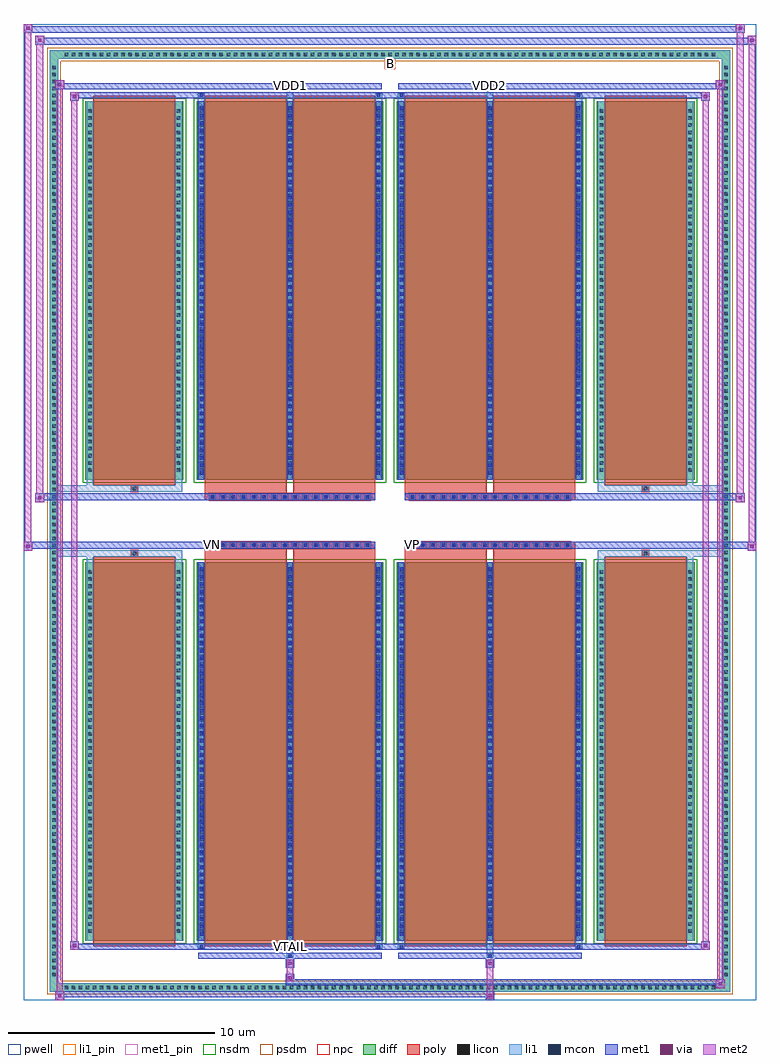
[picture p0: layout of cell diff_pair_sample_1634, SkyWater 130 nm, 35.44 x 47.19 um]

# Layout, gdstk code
import gdstk
lib = gdstk.Library(unit=1e-6, precision=5e-09)
def R(c, l, rs):  # rectangles x0, y0, x1, y1
    for r in rs: c.add(gdstk.rectangle(r[:2], r[2:], *l))
def A(c, l, x, y, w, h, nx, ny, dx, dy):  # array of equal rectangles
    R(c, l, [(x+i*dx, y+j*dy, x+i*dx+w, y+j*dy+h) for i in range(nx) for j in range(ny)])
def P(c, l, *ps):  # polygons
    for p in ps: c.add(gdstk.Polygon(p, *l))
pwell = (64, 44)
diff = (65, 20)
poly = (66, 20)
licon = (66, 44)
li1_pin = (67, 16)
li1 = (67, 20)
mcon = (67, 44)
met1_pin = (68, 16)
met1 = (68, 20)
via = (68, 44)
met2 = (69, 20)
nsdm = (93, 44)
psdm = (94, 20)
npc = (95, 20)

diff_pair_sample_1634 = lib.new_cell('diff_pair_sample_1634')
R(diff_pair_sample_1634, pwell, [(-17.72,-23.16,17.72,24.03), (-15.04,-21.35,-0.01,-0.805), (0.01,-21.35,15.04,-0.805), (-15.04,0.805,-0.01,21.35), (0.01,0.805,15.04,21.35)])
A(diff_pair_sample_1634, diff, -15.845, -22.76, 0.41, 0.41, 93, 2, 0.34, 45.11)
A(diff_pair_sample_1634, diff, -16.45, -22.135, 0.41, 0.41, 1, 130, 0, 0.34)
A(diff_pair_sample_1634, diff, 16.04, -22.135, 0.41, 0.41, 1, 130, 0, 0.34)
R(diff_pair_sample_1634, diff, [(-15.845,-22.76,15.845,-22.35), (-16.45,-22.135,-16.04,22.135), (16.04,-22.135,16.45,22.135), (-14.73,-20.305,-9.99,-1.985), (-9.35,-20.305,-0.32,-1.985), (0.32,-20.305,9.35,-1.985), (9.99,-20.305,14.73,-1.985), (-14.73,1.985,-9.99,20.305), (-9.35,1.985,-0.32,20.305), (0.32,1.985,9.35,20.305), (9.99,1.985,14.73,20.305), (-15.845,22.35,15.845,22.76)])
P(diff_pair_sample_1634, diff, [(16.45,22.76),(-16.45,22.76),(-16.45,-22.35),(-16.04,-22.35),(-16.04,22.35),(16.04,22.35),(16.04,-22.35),(-16.04,-22.35),(-16.45,-22.35),(-16.45,-22.76),(16.45,-22.76)])
A(diff_pair_sample_1634, poly, -8.75, -1.335, 0.33, 0.33, 16, 2, 0.5, 2.34)
A(diff_pair_sample_1634, poly, 0.92, -1.335, 0.33, 0.33, 16, 2, 0.5, 2.34)
R(diff_pair_sample_1634, poly, [(-14.34,-20.555,-10.38,-1.735), (-8.96,-20.555,-5,-1.735), (-4.67,-20.555,-0.71,-1.735), (0.71,-20.555,4.67,-1.735), (5,-20.555,8.96,-1.735), (10.38,-20.555,14.34,-1.735), (-12.525,-1.735,-12.195,-1.405), (-12.525,-1.735,-12.195,-1.405), (-8.96,-1.735,-5,-1.335), (-4.67,-1.735,-0.71,-1.335), (0.71,-1.735,4.67,-1.335), (5,-1.735,8.96,-1.335), (12.195,-1.735,12.525,-1.405), (12.195,-1.735,12.525,-1.405), (-8.96,-1.335,-0.71,-1.005), (0.71,-1.335,8.96,-1.005), (-8.96,1.005,-0.71,1.335), (0.71,1.005,8.96,1.335), (-8.96,1.335,-5,1.735), (-4.67,1.335,-0.71,1.735), (0.71,1.335,4.67,1.735), (5,1.335,8.96,1.735), (-12.525,1.405,-12.195,1.735), (-12.525,1.405,-12.195,1.735), (12.195,1.405,12.525,1.735), (12.195,1.405,12.525,1.735), (-14.34,1.735,-10.38,20.555), (-8.96,1.735,-5,20.555), (-4.67,1.735,-0.71,20.555), (0.71,1.735,4.67,20.555), (5,1.735,8.96,20.555), (10.38,1.735,14.34,20.555)])
A(diff_pair_sample_1634, licon, -15.725, -22.64, 0.17, 0.17, 93, 2, 0.34, 45.11)
A(diff_pair_sample_1634, licon, -16.33, -22.015, 0.17, 0.17, 1, 130, 0, 0.34)
A(diff_pair_sample_1634, licon, 16.16, -22.015, 0.17, 0.17, 1, 130, 0, 0.34)
A(diff_pair_sample_1634, licon, -14.59, -19.9, 0.17, 0.17, 1, 52, 0, 0.34)
A(diff_pair_sample_1634, licon, -10.3, -19.9, 0.17, 0.17, 1, 52, 0, 0.34)
A(diff_pair_sample_1634, licon, -9.21, -19.9, 0.17, 0.17, 3, 52, 4.29, 0.34)
A(diff_pair_sample_1634, licon, 0.46, -19.9, 0.17, 0.17, 3, 52, 4.29, 0.34)
A(diff_pair_sample_1634, licon, 10.13, -19.9, 0.17, 0.17, 1, 52, 0, 0.34)
A(diff_pair_sample_1634, licon, 14.42, -19.9, 0.17, 0.17, 1, 52, 0, 0.34)
A(diff_pair_sample_1634, licon, -8.67, -1.255, 0.17, 0.17, 16, 2, 0.5, 2.34)
A(diff_pair_sample_1634, licon, 1, -1.255, 0.17, 0.17, 16, 2, 0.5, 2.34)
A(diff_pair_sample_1634, licon, -14.59, 2.39, 0.17, 0.17, 1, 52, 0, 0.34)
A(diff_pair_sample_1634, licon, -10.3, 2.39, 0.17, 0.17, 1, 52, 0, 0.34)
A(diff_pair_sample_1634, licon, -9.21, 2.39, 0.17, 0.17, 3, 52, 4.29, 0.34)
A(diff_pair_sample_1634, licon, 0.46, 2.39, 0.17, 0.17, 3, 52, 4.29, 0.34)
A(diff_pair_sample_1634, licon, 10.13, 2.39, 0.17, 0.17, 1, 52, 0, 0.34)
A(diff_pair_sample_1634, licon, 14.42, 2.39, 0.17, 0.17, 1, 52, 0, 0.34)
R(diff_pair_sample_1634, licon, [(-12.445,-1.655,-12.275,-1.485), (12.275,-1.655,12.445,-1.485), (-12.445,1.485,-12.275,1.655), (12.275,1.485,12.445,1.655)])
R(diff_pair_sample_1634, li1_pin, [(-0.25,21.85,0.25,22.35)])
A(diff_pair_sample_1634, li1, -15.805, -22.72, 0.33, 0.33, 93, 2, 0.34, 45.11)
A(diff_pair_sample_1634, li1, -16.41, -22.095, 0.33, 0.33, 1, 130, 0, 0.34)
A(diff_pair_sample_1634, li1, 16.08, -22.095, 0.33, 0.33, 1, 130, 0, 0.34)
A(diff_pair_sample_1634, li1, -9.29, -20.305, 0.33, 18.32, 3, 2, 4.29, 22.29)
A(diff_pair_sample_1634, li1, 0.38, -20.305, 0.33, 18.32, 3, 2, 4.29, 22.29)
A(diff_pair_sample_1634, li1, -9.21, -20.05, 0.17, 0.17, 3, 50, 4.29, 0.36)
A(diff_pair_sample_1634, li1, -9.21, -20.05, 0.17, 17.81, 3, 2, 4.29, 22.29)
A(diff_pair_sample_1634, li1, 0.46, -20.05, 0.17, 0.17, 3, 50, 4.29, 0.36)
A(diff_pair_sample_1634, li1, 0.46, -20.05, 0.17, 17.81, 3, 2, 4.29, 22.29)
A(diff_pair_sample_1634, li1, -14.67, -19.98, 0.33, 0.33, 1, 52, 0, 0.34)
A(diff_pair_sample_1634, li1, -10.38, -19.98, 0.33, 0.33, 1, 52, 0, 0.34)
A(diff_pair_sample_1634, li1, -9.29, -19.98, 0.33, 0.33, 3, 52, 4.29, 0.34)
A(diff_pair_sample_1634, li1, 0.38, -19.98, 0.33, 0.33, 3, 52, 4.29, 0.34)
A(diff_pair_sample_1634, li1, 10.05, -19.98, 0.33, 0.33, 1, 52, 0, 0.34)
A(diff_pair_sample_1634, li1, 14.34, -19.98, 0.33, 0.33, 1, 52, 0, 0.34)
A(diff_pair_sample_1634, li1, -8.75, -1.335, 0.33, 0.33, 16, 2, 0.5, 2.34)
A(diff_pair_sample_1634, li1, 0.92, -1.335, 0.33, 0.33, 16, 2, 0.5, 2.34)
A(diff_pair_sample_1634, li1, -9.21, 2.24, 0.17, 0.17, 3, 50, 4.29, 0.36)
A(diff_pair_sample_1634, li1, 0.46, 2.24, 0.17, 0.17, 3, 50, 4.29, 0.36)
A(diff_pair_sample_1634, li1, -14.67, 2.31, 0.33, 0.33, 1, 52, 0, 0.34)
A(diff_pair_sample_1634, li1, -10.38, 2.31, 0.33, 0.33, 1, 52, 0, 0.34)
A(diff_pair_sample_1634, li1, -9.29, 2.31, 0.33, 0.33, 3, 52, 4.29, 0.34)
A(diff_pair_sample_1634, li1, 0.38, 2.31, 0.33, 0.33, 3, 52, 4.29, 0.34)
A(diff_pair_sample_1634, li1, 10.05, 2.31, 0.33, 0.33, 1, 52, 0, 0.34)
A(diff_pair_sample_1634, li1, 14.34, 2.31, 0.33, 0.33, 1, 52, 0, 0.34)
R(diff_pair_sample_1634, li1, [(-16.45,-22.76,-16.04,-22.35), (-16.45,-22.76,-16.04,-22.35), (-16.04,-22.76,16.04,-22.35), (16.04,-22.76,16.45,-22.35), (16.04,-22.76,16.45,-22.35), (-16.45,-22.35,-16.04,22.35), (16.04,-22.35,16.45,22.35), (-5,-21.11,-4.67,-20.305), (-4.92,-21.11,-4.75,-20.94), (4.67,-21.11,5,-20.305), (4.75,-21.11,4.92,-20.94), (-9.29,-20.68,-8.96,-20.305), (-9.21,-20.68,-9.04,-20.51), (-0.71,-20.68,-0.38,-20.305), (-0.63,-20.68,-0.46,-20.51), (0.38,-20.68,0.71,-20.305), (0.46,-20.68,0.63,-20.51), (8.96,-20.68,9.29,-20.305), (9.04,-20.68,9.21,-20.51), (-14.67,-20.305,-14.34,-1.985), (-10.38,-20.305,-10.05,-1.985), (10.05,-20.305,10.38,-1.985), (14.34,-20.305,14.67,-1.985), (-14.67,-1.985,-14.34,-1.405), (-10.38,-1.985,-10.05,-1.405), (10.05,-1.985,10.38,-1.405), (14.34,-1.985,14.67,-1.405), (-16.45,-1.735,-12.525,-1.405), (-14.67,-1.735,-12.525,-1.405), (-12.525,-1.735,-12.195,-1.405), (-12.195,-1.735,-10.05,-1.405), (10.05,-1.735,12.195,-1.405), (12.195,-1.735,12.525,-1.405), (12.195,-1.735,16.45,-1.405), (12.525,-1.735,14.67,-1.405), (-16.45,1.405,-12.525,1.735), (-14.67,1.405,-12.525,1.735), (-14.67,1.405,-14.34,1.985), (-12.525,1.405,-12.195,1.735), (-12.195,1.405,-10.05,1.735), (-10.38,1.405,-10.05,1.985), (10.05,1.405,12.195,1.735), (10.05,1.405,10.38,1.985), (12.195,1.405,12.525,1.735), (12.195,1.405,16.45,1.735), (12.525,1.405,14.67,1.735), (14.34,1.405,14.67,1.985), (-14.67,1.985,-14.34,20.305), (-10.38,1.985,-10.05,20.305), (10.05,1.985,10.38,20.305), (14.34,1.985,14.67,20.305), (-9.29,20.305,-8.96,20.68), (-5,20.305,-4.67,21.11), (-0.71,20.305,-0.38,20.68), (0.38,20.305,0.71,20.68), (4.67,20.305,5,21.11), (8.96,20.305,9.29,20.68), (-9.21,20.51,-9.04,20.68), (-0.63,20.51,-0.46,20.68), (0.46,20.51,0.63,20.68), (9.04,20.51,9.21,20.68), (-4.92,20.94,-4.75,21.11), (4.75,20.94,4.92,21.11), (-16.45,22.35,-16.04,22.76), (-16.45,22.35,-16.04,22.76), (-16.04,22.35,16.04,22.76), (16.04,22.35,16.45,22.76), (16.04,22.35,16.45,22.76)])
A(diff_pair_sample_1634, mcon, -9.21, -20.05, 0.17, 0.17, 3, 50, 4.29, 0.36)
A(diff_pair_sample_1634, mcon, 0.46, -20.05, 0.17, 0.17, 3, 50, 4.29, 0.36)
A(diff_pair_sample_1634, mcon, -8.67, -1.255, 0.17, 0.17, 16, 2, 0.5, 2.34)
A(diff_pair_sample_1634, mcon, 1, -1.255, 0.17, 0.17, 16, 2, 0.5, 2.34)
A(diff_pair_sample_1634, mcon, -9.21, 2.24, 0.17, 0.17, 3, 50, 4.29, 0.36)
A(diff_pair_sample_1634, mcon, 0.46, 2.24, 0.17, 0.17, 3, 50, 4.29, 0.36)
R(diff_pair_sample_1634, mcon, [(-4.92,-21.11,-4.75,-20.94), (4.75,-21.11,4.92,-20.94), (-9.21,-20.68,-9.04,-20.51), (-0.63,-20.68,-0.46,-20.51), (0.46,-20.68,0.63,-20.51), (9.04,-20.68,9.21,-20.51), (-9.21,20.51,-9.04,20.68), (-0.63,20.51,-0.46,20.68), (0.46,20.51,0.63,20.68), (9.04,20.51,9.21,20.68), (-4.92,20.94,-4.75,21.11), (4.75,20.94,4.92,21.11)])
R(diff_pair_sample_1634, met1_pin, [(-4.97,-20.72,-4.7,-20.45), (-8.72,-1.295,-8.45,-1.025), (0.95,-1.295,1.22,-1.025), (-4.97,20.9,-4.7,21.17), (4.7,20.9,4.97,21.17)])
A(diff_pair_sample_1634, met1, -9.27, -20.305, 0.29, 18.32, 3, 2, 4.29, 22.29)
A(diff_pair_sample_1634, met1, 0.4, -20.305, 0.29, 18.32, 3, 2, 4.29, 22.29)
A(diff_pair_sample_1634, met1, -9.27, -20.11, 0.29, 0.29, 3, 50, 4.29, 0.36)
A(diff_pair_sample_1634, met1, 0.4, -20.11, 0.29, 0.29, 3, 50, 4.29, 0.36)
A(diff_pair_sample_1634, met1, -8.73, -1.315, 0.29, 0.29, 16, 2, 0.5, 2.34)
A(diff_pair_sample_1634, met1, 0.94, -1.315, 0.29, 0.29, 16, 2, 0.5, 2.34)
A(diff_pair_sample_1634, met1, -9.27, 2.18, 0.29, 0.29, 3, 50, 4.29, 0.36)
A(diff_pair_sample_1634, met1, 0.4, 2.18, 0.29, 0.29, 3, 50, 4.29, 0.36)
R(diff_pair_sample_1634, met1, [(-16.18,-23.16,-15.75,-22.73), (4.62,-23.16,5.05,-22.73), (-16.18,-23.02,5.05,-22.73), (15.75,-22.59,16.18,-22.16), (-5.05,-22.45,16.18,-22.16), (-5.05,-22.31,-4.62,-21.88), (-5.05,-21.6,-4.62,-21.17), (4.62,-21.6,5.05,-21.17), (-9.27,-21.17,-0.4,-20.88), (-4.98,-21.17,-4.69,-20.88), (0.4,-21.17,9.27,-20.88), (4.69,-21.17,4.98,-20.88), (-15.47,-20.74,-15.04,-20.31), (-15.47,-20.74,-9.27,-20.45), (-9.27,-20.74,-8.98,-20.45), (-9.27,-20.74,-0.4,-20.45), (-0.69,-20.74,-0.4,-20.45), (-0.4,-20.74,0.4,-20.45), (0.4,-20.74,0.69,-20.45), (0.4,-20.74,9.27,-20.45), (8.98,-20.74,9.27,-20.45), (9.27,-20.74,15.47,-20.45), (15.04,-20.74,15.47,-20.31), (-17.72,-1.435,-17.29,-1.005), (17.29,-1.435,17.72,-1.005), (-17.72,-1.335,-0.71,-1.005), (-8.96,-1.335,-0.71,-1.005), (0.71,-1.335,8.96,-1.005), (0.71,-1.335,17.72,-1.005), (-17.15,0.905,-16.72,1.335), (16.72,0.905,17.15,1.335), (-17.15,1.005,-8.96,1.335), (-8.96,1.005,-0.71,1.335), (0.71,1.005,8.96,1.335), (8.96,1.005,17.15,1.335), (-15.47,20.31,-15.04,20.74), (15.04,20.31,15.47,20.74), (-15.47,20.45,-9.27,20.74), (-9.27,20.45,-8.98,20.74), (-9.27,20.45,-0.4,20.74), (-0.69,20.45,-0.4,20.74), (-0.4,20.45,0.4,20.74), (0.4,20.45,0.69,20.74), (0.4,20.45,9.27,20.74), (8.98,20.45,9.27,20.74), (9.27,20.45,15.47,20.74), (-16.18,20.88,-15.75,21.31), (-16.18,20.88,-9.27,21.17), (-9.27,20.88,-0.4,21.17), (-4.98,20.88,-4.69,21.17), (0.4,20.88,9.27,21.17), (4.69,20.88,4.98,21.17), (9.27,20.88,16.18,21.17), (15.75,20.88,16.18,21.31), (-17.15,23.03,-16.72,23.46), (-17.15,23.03,-15.04,23.36), (-15.04,23.03,15.04,23.36), (15.04,23.03,17.72,23.36), (17.29,23.03,17.72,23.46), (-17.72,23.6,-17.29,24.03), (-17.72,23.6,-15.04,23.93), (-15.04,23.6,15.04,23.93), (15.04,23.6,17.15,23.93), (16.72,23.6,17.15,24.03)])
R(diff_pair_sample_1634, via, [(-16.04,-23.02,-15.89,-22.87), (4.76,-23.02,4.91,-22.87), (15.89,-22.45,16.04,-22.3), (-4.91,-22.17,-4.76,-22.02), (-4.91,-21.46,-4.76,-21.31), (4.76,-21.46,4.91,-21.31), (-15.33,-20.6,-15.18,-20.45), (15.18,-20.6,15.33,-20.45), (-17.58,-1.295,-17.43,-1.145), (17.43,-1.295,17.58,-1.145), (-17.01,1.045,-16.86,1.195), (16.86,1.045,17.01,1.195), (-15.33,20.45,-15.18,20.6), (15.18,20.45,15.33,20.6), (-16.04,21.02,-15.89,21.17), (15.89,21.02,16.04,21.17), (-17.01,23.17,-16.86,23.32), (17.43,23.17,17.58,23.32), (-17.58,23.74,-17.43,23.89), (16.86,23.74,17.01,23.89)])
R(diff_pair_sample_1634, met2, [(-16.18,-23.16,-15.75,-22.73), (-16.11,-23.16,-15.82,21.31), (-15.82,-23.16,-15.75,-22.73), (-16.13,-23.11,-15.8,-22.78), (4.67,-23.11,5,-22.78), (4.67,-22.78,5,-21.55), (15.75,-22.59,16.18,-22.16), (15.82,-22.59,16.11,21.31), (16.11,-22.59,16.18,-22.16), (15.8,-22.54,16.13,-22.21), (-5,-22.26,-4.67,-21.93), (-5,-21.93,-4.67,-21.55), (-5,-21.55,-4.67,-21.22), (4.67,-21.55,5,-21.22), (-15.47,-20.74,-15.04,-20.31), (-15.4,-20.74,-15.11,20.74), (-15.11,-20.74,-15.04,-20.31), (15.04,-20.74,15.47,-20.31), (15.11,-20.74,15.4,20.74), (15.4,-20.74,15.47,-20.31), (-15.42,-20.69,-15.09,-20.36), (15.09,-20.69,15.42,-20.36), (-17.72,-1.435,-17.29,-1.005), (-17.67,-1.435,-17.34,24.03), (-17.34,-1.435,-17.29,-1.005), (17.29,-1.435,17.72,-1.005), (17.34,-1.435,17.67,23.46), (17.67,-1.435,17.72,-1.005), (-17.67,-1.385,-17.34,-1.055), (17.34,-1.385,17.67,-1.055), (-17.15,0.905,-16.72,1.335), (-17.1,0.905,-16.77,23.46), (-16.77,0.905,-16.72,1.335), (16.72,0.905,17.15,1.335), (16.77,0.905,17.1,24.03), (17.1,0.905,17.15,1.335), (-17.1,0.955,-16.77,1.285), (16.77,0.955,17.1,1.285), (-15.47,20.31,-15.04,20.74), (-15.11,20.31,-15.04,20.74), (15.04,20.31,15.47,20.74), (15.4,20.31,15.47,20.74), (-15.42,20.36,-15.09,20.69), (15.09,20.36,15.42,20.69), (-16.18,20.88,-15.75,21.31), (-15.82,20.88,-15.75,21.31), (15.75,20.88,16.18,21.31), (16.11,20.88,16.18,21.31), (-16.13,20.93,-15.8,21.26), (15.8,20.93,16.13,21.26), (-17.15,23.03,-16.72,23.46), (-16.77,23.03,-16.72,23.46), (17.29,23.03,17.72,23.46), (17.67,23.03,17.72,23.46), (-17.1,23.08,-16.77,23.41), (17.34,23.08,17.67,23.41), (-17.72,23.6,-17.29,24.03), (-17.34,23.6,-17.29,24.03), (16.72,23.6,17.15,24.03), (17.1,23.6,17.15,24.03), (-17.67,23.65,-17.34,23.98), (16.77,23.65,17.1,23.98)])
R(diff_pair_sample_1634, nsdm, [(-14.86,-20.435,-9.86,-1.855), (-9.48,-20.435,-0.19,-1.855), (0.19,-20.435,9.48,-1.855), (9.86,-20.435,14.86,-1.855), (-14.86,1.855,-9.86,20.435), (-9.48,1.855,-0.19,20.435), (0.19,1.855,9.48,20.435), (9.86,1.855,14.86,20.435)])
P(diff_pair_sample_1634, psdm, [(16.58,22.89),(-16.58,22.89),(-16.58,-22.22),(-15.91,-22.22),(-15.91,22.22),(15.91,22.22),(15.91,-22.22),(-15.91,-22.22),(-16.58,-22.22),(-16.58,-22.89),(16.58,-22.89)])
A(diff_pair_sample_1634, npc, -8.77, -1.355, 0.37, 0.37, 16, 2, 0.5, 2.34)
A(diff_pair_sample_1634, npc, 0.9, -1.355, 0.37, 0.37, 16, 2, 0.5, 2.34)
R(diff_pair_sample_1634, npc, [(-12.545,-1.755,-12.175,-1.385), (12.175,-1.755,12.545,-1.385), (-8.77,-1.355,-7.9,-0.985), (-8.77,-1.355,-7.9,-0.985), (-8.27,-1.355,-7.4,-0.985), (-8.27,-1.355,-7.4,-0.985), (-7.77,-1.355,-6.9,-0.985), (-7.77,-1.355,-6.9,-0.985), (-7.27,-1.355,-6.4,-0.985), (-7.27,-1.355,-6.4,-0.985), (-6.77,-1.355,-5.9,-0.985), (-6.77,-1.355,-5.9,-0.985), (-6.27,-1.355,-5.4,-0.985), (-6.27,-1.355,-5.4,-0.985), (-5.77,-1.355,-4.9,-0.985), (-5.77,-1.355,-4.9,-0.985), (-5.27,-1.355,-4.4,-0.985), (-5.27,-1.355,-4.4,-0.985), (-4.77,-1.355,-3.9,-0.985), (-4.77,-1.355,-3.9,-0.985), (-4.27,-1.355,-3.4,-0.985), (-4.27,-1.355,-3.4,-0.985), (-3.77,-1.355,-2.9,-0.985), (-3.77,-1.355,-2.9,-0.985), (-3.27,-1.355,-2.4,-0.985), (-3.27,-1.355,-2.4,-0.985), (-2.77,-1.355,-1.9,-0.985), (-2.77,-1.355,-1.9,-0.985), (-2.27,-1.355,-1.4,-0.985), (-2.27,-1.355,-1.4,-0.985), (-1.77,-1.355,-0.9,-0.985), (-1.77,-1.355,-0.9,-0.985), (0.9,-1.355,1.77,-0.985), (0.9,-1.355,1.77,-0.985), (1.4,-1.355,2.27,-0.985), (1.4,-1.355,2.27,-0.985), (1.9,-1.355,2.77,-0.985), (1.9,-1.355,2.77,-0.985), (2.4,-1.355,3.27,-0.985), (2.4,-1.355,3.27,-0.985), (2.9,-1.355,3.77,-0.985), (2.9,-1.355,3.77,-0.985), (3.4,-1.355,4.27,-0.985), (3.4,-1.355,4.27,-0.985), (3.9,-1.355,4.77,-0.985), (3.9,-1.355,4.77,-0.985), (4.4,-1.355,5.27,-0.985), (4.4,-1.355,5.27,-0.985), (4.9,-1.355,5.77,-0.985), (4.9,-1.355,5.77,-0.985), (5.4,-1.355,6.27,-0.985), (5.4,-1.355,6.27,-0.985), (5.9,-1.355,6.77,-0.985), (5.9,-1.355,6.77,-0.985), (6.4,-1.355,7.27,-0.985), (6.4,-1.355,7.27,-0.985), (6.9,-1.355,7.77,-0.985), (6.9,-1.355,7.77,-0.985), (7.4,-1.355,8.27,-0.985), (7.4,-1.355,8.27,-0.985), (7.9,-1.355,8.77,-0.985), (7.9,-1.355,8.77,-0.985), (-8.77,0.985,-7.9,1.355), (-8.77,0.985,-7.9,1.355), (-8.27,0.985,-7.4,1.355), (-8.27,0.985,-7.4,1.355), (-7.77,0.985,-6.9,1.355), (-7.77,0.985,-6.9,1.355), (-7.27,0.985,-6.4,1.355), (-7.27,0.985,-6.4,1.355), (-6.77,0.985,-5.9,1.355), (-6.77,0.985,-5.9,1.355), (-6.27,0.985,-5.4,1.355), (-6.27,0.985,-5.4,1.355), (-5.77,0.985,-4.9,1.355), (-5.77,0.985,-4.9,1.355), (-5.27,0.985,-4.4,1.355), (-5.27,0.985,-4.4,1.355), (-4.77,0.985,-3.9,1.355), (-4.77,0.985,-3.9,1.355), (-4.27,0.985,-3.4,1.355), (-4.27,0.985,-3.4,1.355), (-3.77,0.985,-2.9,1.355), (-3.77,0.985,-2.9,1.355), (-3.27,0.985,-2.4,1.355), (-3.27,0.985,-2.4,1.355), (-2.77,0.985,-1.9,1.355), (-2.77,0.985,-1.9,1.355), (-2.27,0.985,-1.4,1.355), (-2.27,0.985,-1.4,1.355), (-1.77,0.985,-0.9,1.355), (-1.77,0.985,-0.9,1.355), (0.9,0.985,1.77,1.355), (0.9,0.985,1.77,1.355), (1.4,0.985,2.27,1.355), (1.4,0.985,2.27,1.355), (1.9,0.985,2.77,1.355), (1.9,0.985,2.77,1.355), (2.4,0.985,3.27,1.355), (2.4,0.985,3.27,1.355), (2.9,0.985,3.77,1.355), (2.9,0.985,3.77,1.355), (3.4,0.985,4.27,1.355), (3.4,0.985,4.27,1.355), (3.9,0.985,4.77,1.355), (3.9,0.985,4.77,1.355), (4.4,0.985,5.27,1.355), (4.4,0.985,5.27,1.355), (4.9,0.985,5.77,1.355), (4.9,0.985,5.77,1.355), (5.4,0.985,6.27,1.355), (5.4,0.985,6.27,1.355), (5.9,0.985,6.77,1.355), (5.9,0.985,6.77,1.355), (6.4,0.985,7.27,1.355), (6.4,0.985,7.27,1.355), (6.9,0.985,7.77,1.355), (6.9,0.985,7.77,1.355), (7.4,0.985,8.27,1.355), (7.4,0.985,8.27,1.355), (7.9,0.985,8.77,1.355), (7.9,0.985,8.77,1.355), (-12.545,1.385,-12.175,1.755), (12.175,1.385,12.545,1.755)])
diff_pair_sample_1634.add(gdstk.Label('VTAIL', (-4.835,-20.585), layer=68, texttype=5))
diff_pair_sample_1634.add(gdstk.Label('VN', (-8.585,-1.16), layer=68, texttype=5))
diff_pair_sample_1634.add(gdstk.Label('VP', (1.085,-1.16), layer=68, texttype=5))
diff_pair_sample_1634.add(gdstk.Label('B', (0,22.1), layer=67, texttype=5))
diff_pair_sample_1634.add(gdstk.Label('VDD2', (4.835,21.035), layer=68, texttype=5))
diff_pair_sample_1634.add(gdstk.Label('VDD1', (-4.835,21.035), layer=68, texttype=5))

lib.write_gds('diff_pair_sample_1634.gds')
